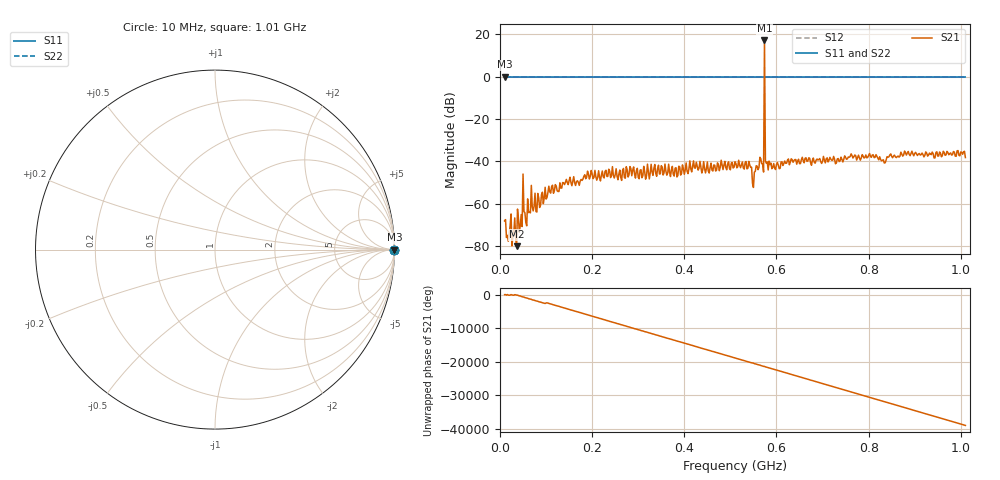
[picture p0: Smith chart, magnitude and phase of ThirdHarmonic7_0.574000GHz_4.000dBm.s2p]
! 8/17/2025 5:45:40 PM
! C:\ANRITSUVNA\TEMP\TEMP.S2P
! CHANNEL.1
! TR.MEASUREMENT
! RAW.DATA
! RF.CORRECTION.OFF
! AVERAGING.OFF
! IF.BANDWIDTH: 5KHZ
! SWEEPTYPE:  FREQ.SWEEP(Linear)
! Reference Plane Port Info
! PORT:  PORT1  PORT2
! DISTANCE:  0  m  0  m
! TIME:  0  s  0  s
! PHASE.OFFSET:  0  deg.  0  deg.
! LOSS:  0  dB  0  dB
! REF.LOSS:  0  dB  0  dB
! REF.FREQ:  0  Hz  0  Hz
! Power Info
! POWER:  -20  dBm  -20  dBm
! EFF.POWER:  -20  dBm  -20  dBm
! SOURCE.ATTEN:  0  dB  0  dB
! TEST.ATTEN:  0  dB  0  dB
# GHZ S RI R 50.0
! FREQ.GHZ  S11RE  S11IM  S21RE  S21IM  S12RE  S12IM  S22RE  S22IM
!; PortSelection: Port_12
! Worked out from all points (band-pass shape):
!   501 points, 10 MHz to 1.01 GHz, reference 50 ohm
!   highest |S21| = 17.04 dB at 574 MHz (marker M1); lowest = -79.9 dB at 36 MHz (marker M2)
!   |S21| within 3 dB of the highest: 573.9033 MHz to 574.1057 MHz (202.4 kHz wide, 0.0353 % of centre)
!   lowest |S11| = 0.0 dB at 10 MHz (marker M3)
!   |S11| at or under -10 dB: nowhere
!   |S22| runs from 0.0 to 0.0 dB; largest |S21 - S12| = 8.1
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0.01  1 0  0.00028 -0.000282  1 0  1 0
0.018  1 0  -0.000131 -1.45e-05  1 0  1 0
0.036  1 0  -9.98e-05 -1.39e-05  1 0  1 0
0.044  1 0  0.000181 -0.000252  1 0  1 0
0.05  1 0  0.00487 -0.00131  1 0  1 0
0.06  1 0  0.00123 -0.000467  1 0  1 0
0.072  1 0  -0.000666 0.000159  1 0  1 0
0.076  1 0  0.00179 1.03e-05  1 0  1 0
0.11  1 0  0.000673 0.00166  1 0  1 0
0.178  1 0  -0.00347 -0.000837  1 0  1 0
0.344  1 0  0.00809 -0.000975  1 0  1 0
0.51  1 0  -0.00938 -0.00298  1 0  1 0
0.542  1 0  0.00719 -0.00407  1 0  1 0
0.55  1 0  -1.99e-05 0.00244  1 0  1 0
0.568  1 0  0.00813 0.00347  1 0  1 0
0.57  1 0  0.00429 -0.00779  1 0  1 0
0.574  1 0  -6.877 -1.801  1 0  1 0
0.578  1 0  0.00881 -0.00223  1 0  1 0
0.58  1 0  -0.003 -0.00928  1 0  1 0
0.678  1 0  0.00599 -0.00889  1 0  1 0
0.844  1 0  -0.00558 0.0116  1 0  1 0
1.01  1 0  -0.00166 -0.0123  1 0  1 0
